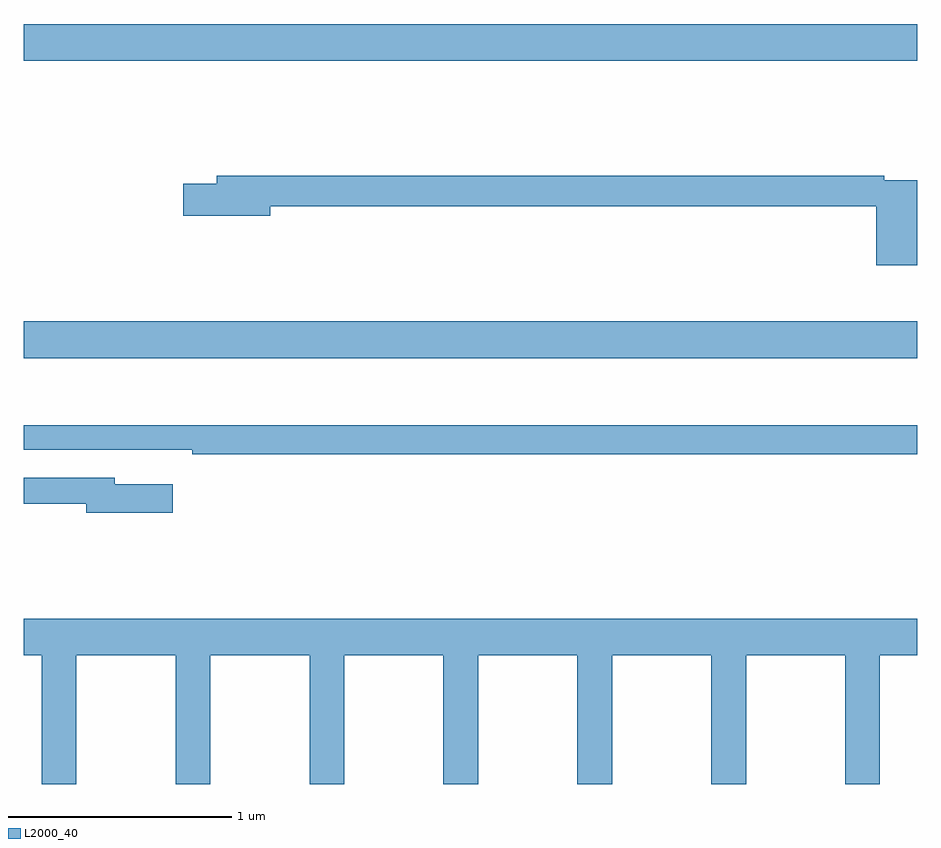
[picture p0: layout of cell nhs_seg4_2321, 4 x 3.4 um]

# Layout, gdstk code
import gdstk
lib = gdstk.Library(unit=1e-6, precision=1e-09)
def R(c, l, rs):  # rectangles x0, y0, x1, y1
    for r in rs: c.add(gdstk.rectangle(r[:2], r[2:], *l))
def P(c, l, *ps):  # polygons
    for p in ps: c.add(gdstk.Polygon(p, *l))
L2000_40 = (2000, 40)

nhs_seg4_2321 = lib.new_cell('nhs_seg4_2321')
R(nhs_seg4_2321, L2000_40, [(231,808.808,235,808.972), (231,810.14,235,810.304)])
P(nhs_seg4_2321, L2000_40, [(235,809.604),(234.854,809.604),(234.854,809.624),(231.863,809.624),(231.863,809.588),(231.714,809.588),(231.714,809.446),(232.102,809.446),(232.102,809.488),(234.818,809.488),(234.818,809.223),(235,809.223)],
  [(235,808.507),(231,808.507),(231,808.398),(231.502,808.398),(231.502,808.397),(231.754,808.397),(231.754,808.378),(235,808.378)],
  [(231.667,808.243),(231.406,808.243),(231.406,808.272),(231,808.272),(231,808.156),(231.278,808.156),(231.278,808.114),(231.667,808.114)],
  [(231.234,807.476),(231.679,807.476),(231.679,806.9),(231.834,806.9),(231.834,807.476),(232.279,807.476),(232.279,806.9),(232.434,806.9),(232.434,807.476),(232.879,807.476),(232.879,806.9),(233.034,806.9),(233.034,807.476),(233.479,807.476),(233.479,806.9),(233.634,806.9),(233.634,807.476),(234.079,807.476),(234.079,806.9),(234.234,806.9),(234.234,807.476),(234.679,807.476),(234.679,806.9),(234.834,806.9),(234.834,807.476),(235,807.476),(235,807.64),(231,807.64),(231,807.476),(231.079,807.476),(231.079,806.9),(231.234,806.9)])

lib.write_gds('nhs_seg4_2321.gds')
